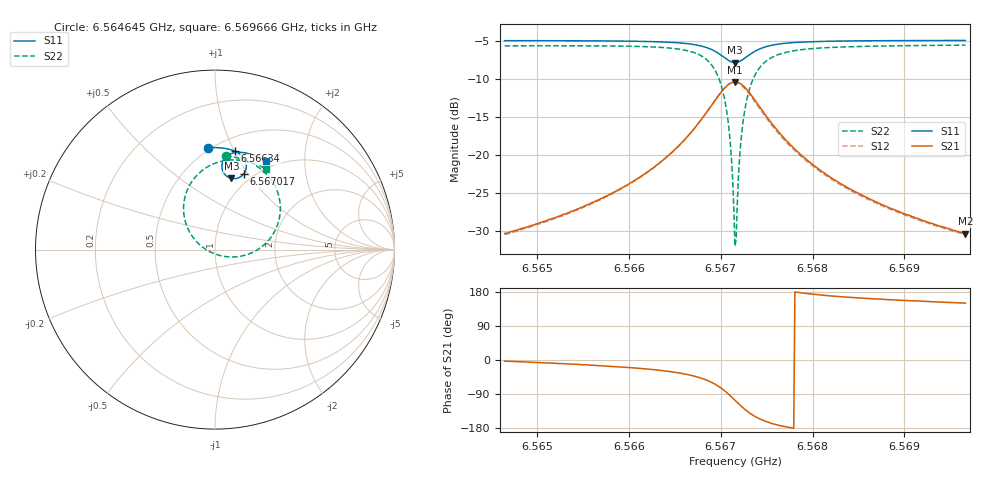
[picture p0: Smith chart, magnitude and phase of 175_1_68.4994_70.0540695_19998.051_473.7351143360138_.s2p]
#  HZ  S  RI  R  50.00
! Rohde & Schwarz Vector Network Analyzer
! Rohde-Schwarz,ZNB20-2Port,1311601062101988,3.16
! Created: UTC 3/20/2024, 5:11:35 PM
! freq[Hz]  re:S11  im:S11  re:S21  im:S21  re:S12  im:S12  re:S22  im:S22
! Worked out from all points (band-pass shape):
!   401 points, 6.564645 GHz to 6.569666 GHz, reference 50 ohm
!   highest |S21| = -10.34 dB at 6.567156 GHz (marker M1); lowest = -30.4 dB at 6.569666 GHz (marker M2)
!   |S21| within 3 dB of the highest: 6.566906 GHz to 6.567407 GHz (501.6 kHz wide, 0.00764 % of centre)
!   lowest |S11| = -7.8 dB at 6.567156 GHz (marker M3), VSWR 2.37, Z = 42.4 + j40.3 ohm
!   |S11| at or under -10 dB: nowhere
!   |S22| runs from -32.0 to -5.5 dB; largest |S21 - S12| = 0.015
!   S11 on the Smith chart (normalised r, x): 6.564645 GHz: 0.48, +0.81; 6.56634 GHz: 0.63, +1.01; 6.567017 GHz: 0.90, +0.95; 6.569666 GHz: 0.89, +1.31
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6.5646454e9  -0.0405 0.5675  0.0304 -0.00173  0.0298 -0.00197  0.0606 0.5226
6.5654863e9  0.0296 0.567  0.0441 -0.00961  0.0435 -0.0101  0.1436 0.5061
6.5663272e9  0.1113 0.548  0.0785 -0.04  0.0774 -0.041  0.2638 0.4422
6.5663398e9  0.1128 0.5473  0.0796 -0.0411  0.0783 -0.0421  0.2662 0.44
6.5666159e9  0.1463 0.5255  0.102 -0.0776  0.1004 -0.0792  0.3263 0.368
6.5668167e9  0.1701 0.4902  0.1154 -0.1393  0.1126 -0.1422  0.3633 0.2493
6.5669296e9  0.1738 0.4554  0.1036 -0.2005  0.0984 -0.2045  0.3464 0.1322
6.5670175e9  0.1598 0.4213  0.0622 -0.2587  0.0529 -0.262  0.2701 0.0237
6.5670551e9  0.1462 0.4082  0.0305 -0.2804  0.0195 -0.2822  0.2112 -0.0145
6.5670928e9  0.128 0.3986  -0.00917 -0.2945  -0.0221 -0.2938  0.1377 -0.0378
6.5671179e9  0.1136 0.3954  -0.039 -0.2978  -0.0526 -0.2951  0.0837 -0.0411
6.567143e9  0.0988 0.3955  -0.0701 -0.2953  -0.0834 -0.2901  0.0286 -0.0332
6.5671556e9  0.0912 0.3967  -0.0853 -0.2917  -0.0983 -0.2852  0.00169 -0.025
6.5671807e9  0.0771 0.4016  -0.1143 -0.2802  -0.1262 -0.2714  -0.0481 -0.00069
6.5672183e9  0.0591 0.4143  -0.1511 -0.2536  -0.1605 -0.2421  -0.1091 0.0515
6.5672434e9  0.0502 0.425  -0.1697 -0.2316  -0.1771 -0.2195  -0.1383 0.0924
6.5672936e9  0.04 0.4488  -0.1923 -0.1848  -0.1955 -0.1723  -0.1704 0.1775
6.5673564e9  0.0398 0.4764  -0.1983 -0.1313  -0.1979 -0.1202  -0.1716 0.2715
6.5675823e9  0.0781 0.5286  -0.1517 -0.029  -0.1483 -0.0243  -0.0678 0.4435
6.5679964e9  0.1413 0.5422  -0.0866 0.00939  -0.0844 0.0108  0.0753 0.4987
6.5688373e9  0.2229 0.5235  -0.0418 0.0159  -0.041 0.0162  0.2069 0.4832
6.5696657e9  0.2855 0.4942  -0.0262 0.0151  -0.0257 0.0151  0.2836 0.4496
